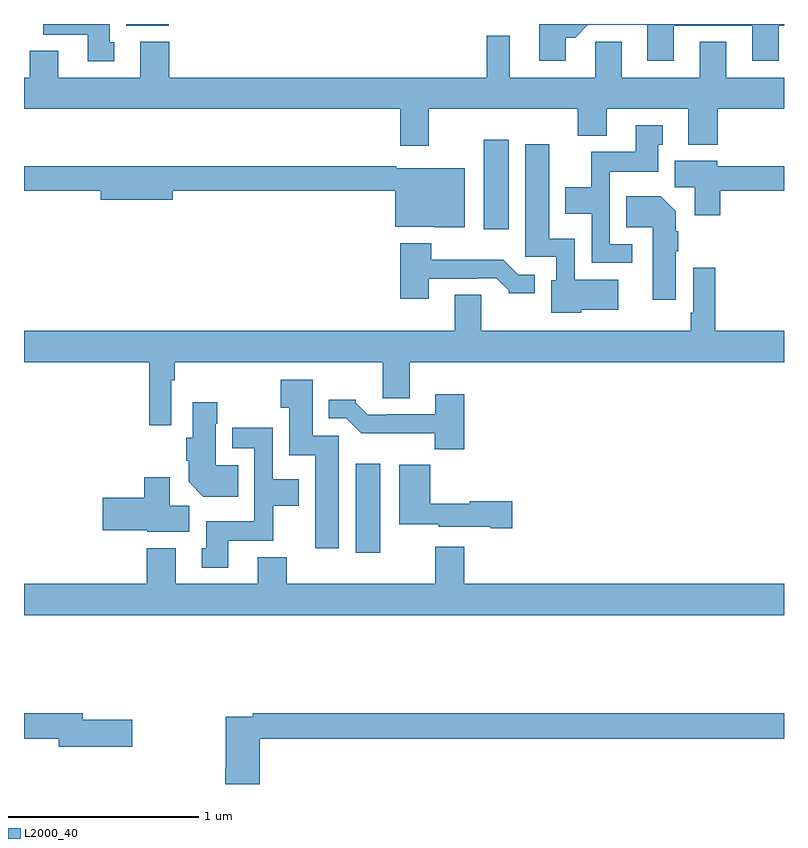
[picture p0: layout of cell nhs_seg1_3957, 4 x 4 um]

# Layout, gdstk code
import gdstk
lib = gdstk.Library(unit=1e-6, precision=1e-09)
def R(c, l, rs):  # rectangles x0, y0, x1, y1
    for r in rs: c.add(gdstk.rectangle(r[:2], r[2:], *l))
def P(c, l, *ps):  # polygons
    for p in ps: c.add(gdstk.Polygon(p, *l))
L2000_40 = (2000, 40)

nhs_seg1_3957 = lib.new_cell('nhs_seg1_3957')
R(nhs_seg1_3957, L2000_40, [(328.745,529.416,328.876,529.885), (329.42,531.12,329.551,531.589), (327.539,532.19,327.762,532.199)])
P(nhs_seg1_3957, L2000_40, [(327.475,532.104),(327.451,532.104),(327.451,532.199),(327.1,532.199),(327.1,532.142),(327.335,532.142),(327.335,532.002),(327.475,532.002)],
  [(329.851,532.127),(329.9,532.127),(329.967,532.194),(330.281,532.194),(330.281,532.005),(330.421,532.005),(330.421,532.191),(330.833,532.191),(330.833,532.005),(330.973,532.005),(330.973,532.191),(331,532.191),(331,532.199),(329.711,532.199),(329.711,532.005),(329.851,532.005)],
  [(329.131,531.752),(329.915,531.752),(329.915,531.611),(330.067,531.611),(330.067,531.752),(330.497,531.752),(330.497,531.563),(330.65,531.563),(330.65,531.752),(331,531.752),(331,531.916),(330.697,531.916),(330.697,532.106),(330.557,532.106),(330.557,531.916),(330.145,531.916),(330.145,532.106),(330.006,532.106),(330.006,531.916),(329.557,531.916),(329.557,532.138),(329.436,532.138),(329.436,531.916),(327.764,531.916),(327.764,532.105),(327.611,532.105),(327.611,531.916),(327.181,531.916),(327.181,532.057),(327.029,532.057),(327.029,531.916),(327,531.916),(327,531.752),(328.979,531.752),(328.979,531.558),(329.131,531.558)],
  [(330.202,531.039),(330.084,531.039),(330.084,531.422),(330.337,531.422),(330.337,531.564),(330.361,531.564),(330.361,531.667),(330.221,531.667),(330.221,531.526),(329.986,531.526),(329.986,531.34),(329.849,531.34),(329.849,531.2),(329.988,531.2),(329.988,530.943),(330.202,530.943)],
  [(329.934,530.696),(330.127,530.696),(330.127,530.854),(329.898,530.854),(329.898,531.07),(329.764,531.07),(329.764,531.565),(329.639,531.565),(329.639,530.973),(329.802,530.973),(329.802,530.85),(329.774,530.85),(329.774,530.678),(329.934,530.678)],
  [(330.665,531.322),(331,531.322),(331,531.451),(330.648,531.451),(330.648,531.478),(330.425,531.478),(330.425,531.34),(330.53,531.34),(330.53,531.192),(330.665,531.192)],
  [(329.32,531.439),(328.959,531.439),(328.959,531.451),(327,531.451),(327,531.322),(327.404,531.322),(327.404,531.275),(327.784,531.275),(327.784,531.322),(328.955,531.322),(328.955,531.131),(329.16,531.131),(329.16,531.128),(329.32,531.128)],
  [(330.43,531.004),(330.443,531.004),(330.443,531.107),(330.43,531.107),(330.43,531.214),(330.352,531.292),(330.169,531.292),(330.169,531.128),(330.308,531.128),(330.308,530.748),(330.43,530.748)],
  [(329.131,530.859),(329.387,530.859),(329.387,530.862),(329.486,530.862),(329.55,530.798),(329.55,530.783),(329.689,530.783),(329.689,530.88),(329.601,530.88),(329.523,530.959),(329.144,530.959),(329.144,531.046),(328.979,531.046),(328.979,530.754),(329.131,530.754)],
  [(331,530.584),(330.638,530.584),(330.638,530.917),(330.522,530.917),(330.522,530.68),(330.51,530.68),(330.51,530.584),(329.407,530.584),(329.407,530.774),(329.267,530.774),(329.267,530.584),(327,530.584),(327,530.42),(327.658,530.42),(327.658,530.088),(327.774,530.088),(327.774,530.324),(327.794,530.324),(327.794,530.42),(328.889,530.42),(328.889,530.23),(329.029,530.23),(329.029,530.42),(331,530.42)],
  [(328.657,530.031),(328.519,530.031),(328.519,530.326),(328.351,530.326),(328.351,530.179),(328.397,530.179),(328.397,529.928),(328.532,529.928),(328.532,529.44),(328.657,529.44)],
  [(329.318,530.251),(329.165,530.251),(329.165,530.145),(328.909,530.145),(328.909,530.142),(328.81,530.142),(328.746,530.206),(328.746,530.221),(328.604,530.221),(328.604,530.124),(328.695,530.124),(328.774,530.046),(329.163,530.046),(329.163,529.961),(329.318,529.961)],
  [(328.127,529.876),(328.009,529.876),(328.009,530.096),(328.017,530.096),(328.017,530.209),(327.887,530.209),(327.887,530.022),(327.854,530.022),(327.854,529.9),(327.866,529.9),(327.866,529.79),(327.944,529.712),(328.127,529.712)],
  [(328.075,529.478),(328.311,529.478),(328.311,529.664),(328.447,529.664),(328.447,529.804),(328.308,529.804),(328.308,530.074),(328.095,530.074),(328.095,529.965),(328.212,529.965),(328.212,529.582),(327.959,529.582),(327.959,529.44),(327.935,529.44),(327.935,529.338),(328.075,529.338)],
  [(329.569,529.688),(329.346,529.688),(329.346,529.675),(329.138,529.675),(329.138,529.879),(328.976,529.879),(328.976,529.565),(329.184,529.565),(329.184,529.553),(329.456,529.553),(329.456,529.546),(329.569,529.546)],
  [(327.871,529.664),(327.766,529.664),(327.766,529.813),(327.632,529.813),(327.632,529.706),(327.414,529.706),(327.414,529.535),(327.648,529.535),(327.648,529.526),(327.871,529.526)],
  [(331,529.252),(329.318,529.252),(329.318,529.447),(329.165,529.447),(329.165,529.252),(328.382,529.252),(328.382,529.393),(328.229,529.393),(328.229,529.252),(327.799,529.252),(327.799,529.441),(327.647,529.441),(327.647,529.252),(327,529.252),(327,529.088),(331,529.088)],
  [(327.571,528.536),(327.31,528.536),(327.31,528.572),(327,528.572),(327,528.436),(327.182,528.436),(327.182,528.394),(327.571,528.394)],
  [(328.241,528.436),(331,528.436),(331,528.572),(328.204,528.572),(328.204,528.552),(328.063,528.552),(328.063,528.283),(328.058,528.283),(328.058,528.199),(328.241,528.199)])

lib.write_gds('nhs_seg1_3957.gds')
